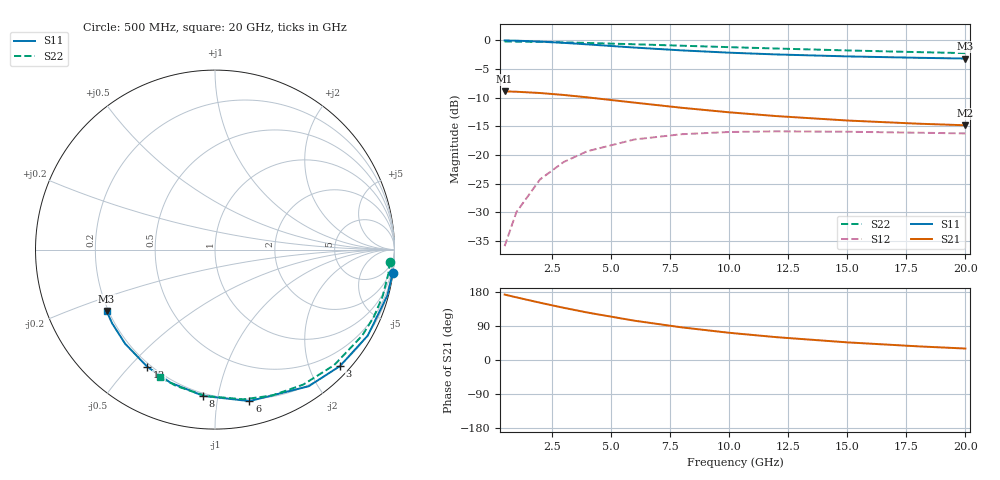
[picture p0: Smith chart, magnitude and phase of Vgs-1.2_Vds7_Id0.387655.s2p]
# Hz S RI R 50
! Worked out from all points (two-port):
!   12 points, 500 MHz to 20 GHz, reference 50 ohm
!   highest |S21| = -8.90 dB at 500 MHz (marker M1); lowest = -14.8 dB at 20 GHz (marker M2)
!   |S21| within 3 dB of the highest: start of sweep to 8.36 GHz
!   lowest |S11| = -3.2 dB at 20 GHz (marker M3), VSWR 5.55, Z = 9.62 - j12.7 ohm
!   |S11| at or under -10 dB: nowhere
!   |S22| runs from -2.2 to -0.2 dB; largest |S21 - S12| = 0.36
!   S11 on the Smith chart (normalised r, x): 500 MHz: 0, -15; 3 GHz: 0.18, -2.53; 6 GHz: 0.18, -1.24; 8 GHz: 0.18, -0.91; 12 GHz: 0.19, -0.56; 20 GHz: 0.19, -0.25
5e8  0.9899 -0.1302  -0.3561 0.0459  0.00152 0.016  0.9747 -0.0664
1e9  0.9603 -0.2559  -0.3451 0.0902  0.00599 0.0313  0.9665 -0.1321
2e9  0.8511 -0.4791  -0.3045 0.1678  0.0223 0.0572  0.9345 -0.2586
3e9  0.6963 -0.6489  -0.2474 0.2249  0.0449 0.0746  0.8847 -0.3749
4e9  0.5223 -0.7611  -0.1841 0.2601  0.0694 0.0828  0.8204 -0.4788
6e9  0.1921 -0.8441  -0.0678 0.2784  0.112 0.0786  0.6644 -0.6433
8e9  -0.0657 -0.8152  0.0177 0.2578  0.1397 0.0602  0.4912 -0.7524
1e10  -0.2493 -0.7405  0.0735 0.2243  0.1541 0.039  0.3192 -0.8126
1.2e10  -0.3773 -0.6529  0.1085 0.1899  0.1598 0.0198  0.1587 -0.8342
1.5e10  -0.5006 -0.5246  0.1376 0.1453  0.1598 -0.00272  -0.0497 -0.8157
1.8e10  -0.5734 -0.4101  0.1519 0.1104  0.1556 -0.0187  -0.216 -0.7599
2e10  -0.6044 -0.3421  0.1571 0.0916  0.1521 -0.0267  -0.3056 -0.7113
